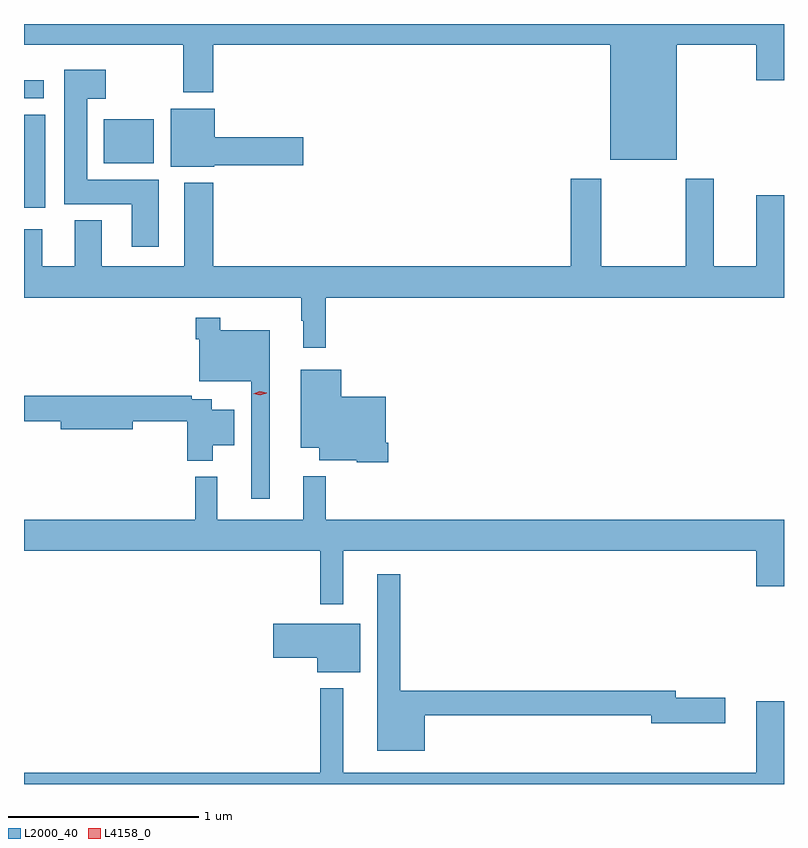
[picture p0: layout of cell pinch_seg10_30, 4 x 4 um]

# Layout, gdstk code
import gdstk
lib = gdstk.Library(unit=1e-6, precision=1e-09)
def R(c, l, rs):  # rectangles x0, y0, x1, y1
    for r in rs: c.add(gdstk.rectangle(r[:2], r[2:], *l))
def P(c, l, *ps):  # polygons
    for p in ps: c.add(gdstk.Polygon(p, *l))
L2000_40 = (2000, 40)
L4158_0 = (4158, 0)

pinch_seg10_30 = lib.new_cell('pinch_seg10_30')
R(pinch_seg10_30, L2000_40, [(928.387,1284.804,928.498,1285.295), (928.808,1285.04,929.071,1285.27), (928.387,1285.38,928.492,1285.476)])
P(pinch_seg10_30, L2000_40, [(931.822,1285.664),(932.24,1285.664),(932.24,1285.476),(932.387,1285.476),(932.387,1285.772),(928.387,1285.772),(928.387,1285.664),(929.224,1285.664),(929.224,1285.412),(929.384,1285.412),(929.384,1285.664),(931.472,1285.664),(931.472,1285.058),(931.822,1285.058)],
  [(929.095,1284.952),(928.72,1284.952),(928.72,1285.379),(928.816,1285.379),(928.816,1285.531),(928.598,1285.531),(928.598,1284.824),(928.955,1284.824),(928.955,1284.6),(929.095,1284.6)],
  [(929.388,1285.028),(929.857,1285.028),(929.857,1285.175),(929.392,1285.175),(929.392,1285.327),(929.159,1285.327),(929.159,1285.022),(929.388,1285.022)],
  [(928.655,1284.739),(928.655,1284.496),(928.483,1284.496),(928.483,1284.691),(928.387,1284.691),(928.387,1284.332),(929.847,1284.332),(929.847,1284.209),(929.858,1284.209),(929.858,1284.069),(929.975,1284.069),(929.975,1284.332),(932.387,1284.332),(932.387,1284.871),(932.24,1284.871),(932.24,1284.496),(932.017,1284.496),(932.017,1284.958),(931.87,1284.958),(931.87,1284.496),(931.425,1284.496),(931.425,1284.958),(931.265,1284.958),(931.265,1284.496),(929.384,1284.496),(929.384,1284.937),(929.231,1284.937),(929.231,1284.496),(928.795,1284.496),(928.795,1284.739)],
  [(929.68,1284.16),(929.419,1284.16),(929.419,1284.226),(929.29,1284.226),(929.29,1284.113),(929.31,1284.113),(929.31,1283.891),(929.583,1283.891),(929.583,1283.274),(929.68,1283.274)],
  [(930.305,1283.569),(930.292,1283.569),(930.292,1283.809),(930.058,1283.809),(930.058,1283.953),(929.843,1283.953),(929.843,1283.543),(929.942,1283.543),(929.942,1283.477),(930.138,1283.477),(930.138,1283.465),(930.305,1283.465)],
  [(929.38,1283.555),(929.494,1283.555),(929.494,1283.743),(929.374,1283.743),(929.374,1283.796),(929.27,1283.796),(929.27,1283.816),(928.387,1283.816),(928.387,1283.68),(928.58,1283.68),(928.58,1283.638),(928.96,1283.638),(928.96,1283.68),(929.246,1283.68),(929.246,1283.474),(929.38,1283.474)],
  [(930.067,1283),(932.24,1283),(932.24,1282.812),(932.387,1282.812),(932.387,1283.164),(929.975,1283.164),(929.975,1283.392),(929.858,1283.392),(929.858,1283.164),(929.405,1283.164),(929.405,1283.389),(929.287,1283.389),(929.287,1283.164),(928.387,1283.164),(928.387,1283),(929.946,1283),(929.946,1282.719),(930.067,1282.719)],
  [(930.496,1282.134),(931.688,1282.134),(931.688,1282.091),(932.077,1282.091),(932.077,1282.226),(931.816,1282.226),(931.816,1282.262),(930.367,1282.262),(930.367,1282.876),(930.245,1282.876),(930.245,1281.947),(930.496,1281.947)],
  [(930.157,1282.615),(929.7,1282.615),(929.7,1282.436),(929.93,1282.436),(929.93,1282.361),(930.157,1282.361)],
  [(932.387,1282.207),(932.24,1282.207),(932.24,1281.832),(930.067,1281.832),(930.067,1282.276),(929.946,1282.276),(929.946,1281.832),(928.387,1281.832),(928.387,1281.772),(932.387,1281.772)])
P(pinch_seg10_30, L4158_0, [(929.63,1283.818),(929.594,1283.827),(929.594,1283.827),(929.594,1283.827),(929.629,1283.838),(929.665,1283.83),(929.665,1283.83),(929.665,1283.829)])

lib.write_gds('pinch_seg10_30.gds')
